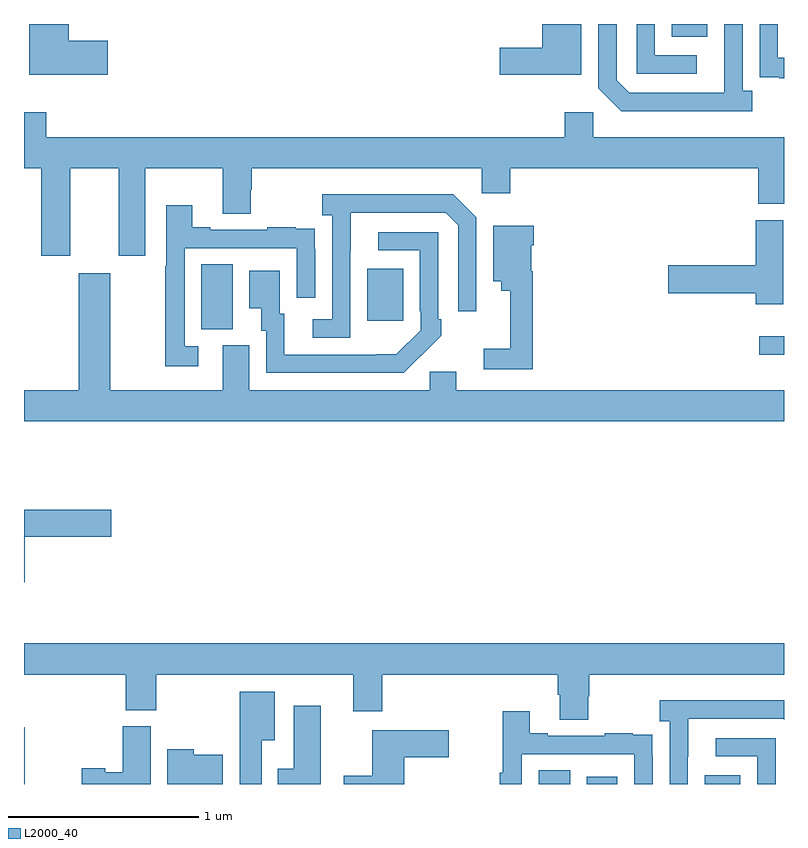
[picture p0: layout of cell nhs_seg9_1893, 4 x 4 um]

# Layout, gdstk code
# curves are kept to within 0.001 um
import gdstk
lib = gdstk.Library(unit=1e-6, precision=1e-09)
def R(c, l, rs):  # rectangles x0, y0, x1, y1
    for r in rs: c.add(gdstk.rectangle(r[:2], r[2:], *l))
def P(c, l, *ps):  # polygons
    for p in ps: c.add(gdstk.Polygon(p, *l))
L2000_40 = (2000, 40)

nhs_seg9_1893 = lib.new_cell('nhs_seg9_1893')
R(nhs_seg9_1893, L2000_40, [(217,1206.5,217.004,1206.799), (219.71,1206.5,219.874,1206.572), (219.962,1206.5,220.123,1206.538), (220.583,1206.5,220.771,1206.547), (220.869,1208.76,221,1208.856), (217.934,1208.893,218.098,1209.236), (218.807,1208.937,218.995,1209.211), (220.409,1210.433,220.597,1210.5)])
P(nhs_seg9_1893, L2000_40, [(220.54,1210.335),(220.32,1210.335),(220.32,1210.5),(220.224,1210.5),(220.224,1210.239),(220.54,1210.239)],
  [(221,1210.323),(220.968,1210.323),(220.968,1210.5),(220.872,1210.5),(220.872,1210.33),(220.873,1210.33),(220.873,1210.221),(220.975,1210.221),(220.975,1210.215),(221,1210.215)],
  [(217.441,1210.412),(217.235,1210.412),(217.235,1210.5),(217.118,1210.5),(217.118,1210.498),(217.028,1210.498),(217.028,1210.234),(217.441,1210.234)],
  [(219.934,1210.498),(219.845,1210.498),(219.845,1210.5),(219.727,1210.5),(219.727,1210.376),(219.504,1210.376),(219.504,1210.234),(219.934,1210.234)],
  [(220.834,1210.15),(220.782,1210.15),(220.782,1210.5),(220.686,1210.5),(220.685,1210.137),(220.185,1210.137),(220.119,1210.203),(220.119,1210.5),(220.023,1210.5),(220.023,1210.161),(220.144,1210.04),(220.834,1210.04)],
  [(217.243,1209.74),(217.499,1209.74),(217.499,1209.279),(217.639,1209.279),(217.639,1209.74),(218.045,1209.74),(218.045,1209.502),(218.193,1209.502),(218.193,1209.627),(218.198,1209.627),(218.198,1209.74),(219.408,1209.74),(219.408,1209.609),(219.56,1209.609),(219.56,1209.74),(220.865,1209.74),(220.865,1209.553),(221,1209.553),(221,1209.904),(219.996,1209.904),(219.996,1210.036),(219.845,1210.036),(219.845,1209.904),(217.118,1209.904),(217.118,1210.036),(217,1210.036),(217,1209.74),(217.091,1209.74),(217.091,1209.279),(217.243,1209.279)],
  [(218.718,1209.307),(218.719,1209.507),(219.219,1209.507),(219.285,1209.441),(219.285,1208.988),(219.381,1208.988),(219.381,1209.483),(219.26,1209.604),(218.571,1209.604),(218.571,1209.494),(218.622,1209.494),(218.622,1208.946),(218.52,1208.946),(218.52,1208.85),(218.718,1208.85)],
  [(217.918,1208.805),(217.845,1208.805),(217.845,1209.321),(218.436,1209.321),(218.436,1209.06),(218.532,1209.06),(218.532,1209.314),(218.531,1209.314),(218.531,1209.423),(218.429,1209.423),(218.429,1209.43),(218.281,1209.43),(218.281,1209.417),(217.981,1209.417),(217.981,1209.43),(217.885,1209.43),(217.885,1209.547),(217.749,1209.547),(217.749,1209.224),(217.744,1209.224),(217.744,1208.7),(217.918,1208.7)],
  [(220.996,1209.468),(220.85,1209.468),(220.85,1209.23),(220.392,1209.23),(220.392,1209.083),(220.85,1209.083),(220.85,1209.024),(220.996,1209.024)],
  [(219.677,1209.199),(219.67,1209.199),(219.67,1209.335),(219.683,1209.335),(219.683,1209.439),(219.47,1209.439),(219.47,1209.146),(219.512,1209.146),(219.512,1209.095),(219.56,1209.095),(219.56,1208.791),(219.42,1208.791),(219.42,1208.682),(219.677,1208.682)],
  [(219.089,1208.755),(219.09,1208.754),(219.195,1208.859),(219.195,1208.947),(219.18,1208.947),(219.18,1209.405),(218.865,1209.405),(218.865,1209.309),(219.084,1209.309),(219.084,1208.989),(219.087,1208.989),(219.087,1208.889),(218.959,1208.761),(218.371,1208.76),(218.371,1208.976),(218.347,1208.976),(218.347,1209.202),(218.186,1209.202),(218.186,1209.005),(218.249,1209.005),(218.249,1208.886),(218.274,1208.886),(218.274,1208.664),(218.998,1208.664)],
  [(221,1208.572),(219.274,1208.572),(219.274,1208.67),(219.135,1208.67),(219.135,1208.572),(218.185,1208.572),(218.185,1208.808),(218.045,1208.808),(218.045,1208.572),(217.453,1208.572),(217.453,1209.187),(217.289,1209.187),(217.289,1208.572),(217,1208.572),(217,1208.408),(221,1208.408)],
  [(217.004,1207.802),(217.459,1207.802),(217.459,1207.944),(217,1207.944),(217,1207.563),(217.004,1207.563)],
  [(219.969,1206.963),(219.974,1206.963),(219.974,1207.076),(221,1207.076),(221,1207.24),(217,1207.24),(217,1207.076),(217.535,1207.076),(217.535,1206.889),(217.695,1206.889),(217.695,1207.076),(218.732,1207.076),(218.732,1206.882),(218.885,1206.882),(218.885,1207.076),(219.809,1207.076),(219.809,1206.97),(219.821,1206.97),(219.821,1206.838),(219.969,1206.838)],
  [(218.251,1206.731),(218.32,1206.731),(218.32,1206.985),(218.135,1206.985),(218.135,1206.5),(218.251,1206.5)],
  [(220.494,1206.643),(220.495,1206.643),(220.495,1206.843),(220.995,1206.843),(221,1206.838),(221,1206.94),(220.347,1206.94),(220.347,1206.83),(220.398,1206.83),(220.398,1206.5),(220.494,1206.5)],
  [(218.563,1206.913),(218.42,1206.913),(218.42,1206.58),(218.336,1206.58),(218.336,1206.5),(218.563,1206.5)],
  [(219.621,1206.657),(220.212,1206.657),(220.212,1206.5),(220.308,1206.5),(220.308,1206.65),(220.307,1206.65),(220.307,1206.759),(220.205,1206.759),(220.205,1206.766),(220.057,1206.766),(220.057,1206.753),(219.757,1206.753),(219.757,1206.766),(219.661,1206.766),(219.661,1206.883),(219.52,1206.883),(219.52,1206.56),(219.505,1206.56),(219.505,1206.5),(219.621,1206.5)],
  [(217.666,1206.804),(217.52,1206.804),(217.52,1206.561),(217.428,1206.561),(217.428,1206.584),(217.303,1206.584),(217.303,1206.5),(217.666,1206.5)],
  [(219.002,1206.641),(219.235,1206.641),(219.235,1206.783),(218.834,1206.783),(218.834,1206.543),(218.682,1206.543),(218.682,1206.5),(219.002,1206.5)],
  [(220.956,1206.741),(220.641,1206.741),(220.641,1206.645),(220.86,1206.645),(220.86,1206.5),(220.956,1206.5)],
  [(218.047,1206.655),(217.893,1206.655),(217.893,1206.682),(217.754,1206.682),(217.754,1206.5),(218.047,1206.5)])

lib.write_gds('nhs_seg9_1893.gds')
